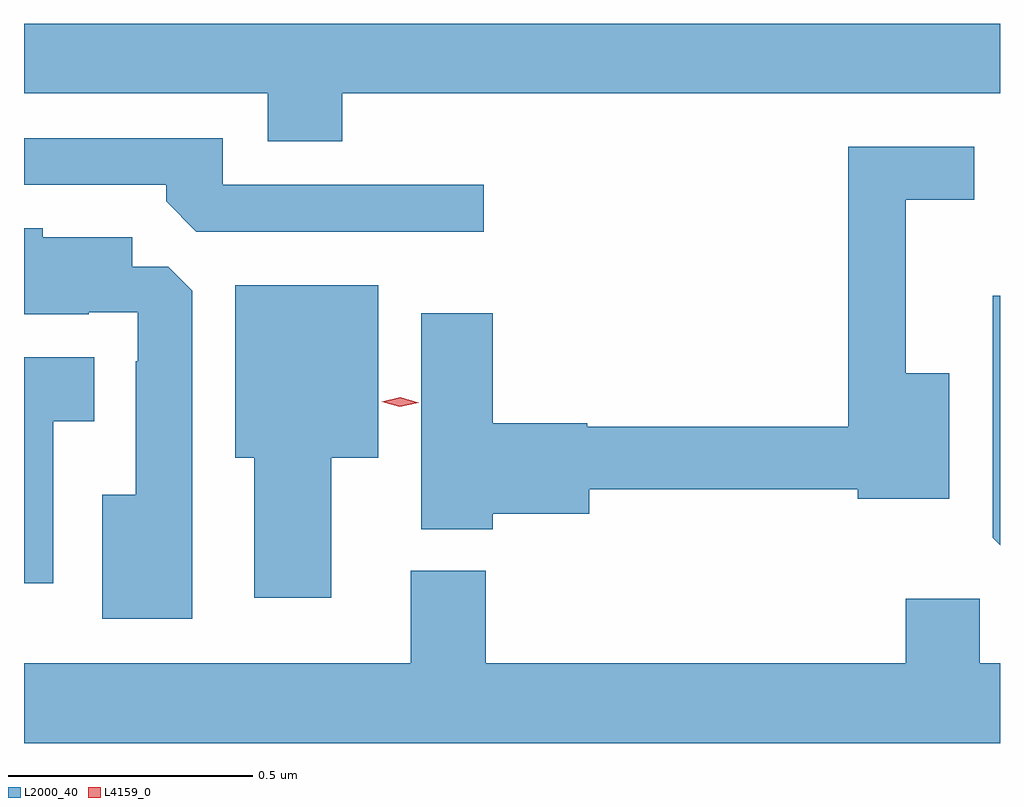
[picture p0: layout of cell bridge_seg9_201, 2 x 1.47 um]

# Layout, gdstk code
import gdstk
lib = gdstk.Library(unit=1e-6, precision=1e-09)
def P(c, l, *ps):  # polygons
    for p in ps: c.add(gdstk.Polygon(p, *l))
L2000_40 = (2000, 40)
L4159_0 = (4159, 0)

bridge_seg9_201 = lib.new_cell('bridge_seg9_201')
P(bridge_seg9_201, L2000_40, [(170.96,1200.416),(172.308,1200.416),(172.308,1200.558),(170.308,1200.558),(170.308,1200.416),(170.807,1200.416),(170.807,1200.317),(170.96,1200.317)],
  [(171.25,1200.228),(170.715,1200.228),(170.715,1200.324),(170.308,1200.324),(170.308,1200.228),(170.6,1200.228),(170.6,1200.194),(170.661,1200.132),(171.25,1200.132)],
  [(171.269,1199.554),(171.466,1199.554),(171.466,1199.604),(172.016,1199.604),(172.016,1199.585),(172.204,1199.585),(172.204,1199.842),(172.115,1199.842),(172.115,1200.198),(172.255,1200.198),(172.255,1200.306),(171.997,1200.306),(171.997,1199.732),(171.462,1199.732),(171.462,1199.74),(171.269,1199.74),(171.269,1199.965),(171.122,1199.965),(171.122,1199.522),(171.269,1199.522)],
  [(170.653,1200.011),(170.604,1200.06),(170.53,1200.06),(170.53,1200.121),(170.346,1200.121),(170.346,1200.139),(170.308,1200.139),(170.308,1199.963),(170.441,1199.963),(170.441,1199.967),(170.541,1199.967),(170.541,1199.867),(170.537,1199.867),(170.537,1199.593),(170.468,1199.593),(170.468,1199.339),(170.653,1199.339)],
  [(170.938,1199.669),(171.034,1199.669),(171.034,1200.022),(170.741,1200.022),(170.741,1199.669),(170.78,1199.669),(170.78,1199.382),(170.938,1199.382)],
  [(172.308,1200.001),(172.293,1200.001),(172.293,1199.505),(172.308,1199.49)],
  [(170.368,1199.744),(170.452,1199.744),(170.452,1199.875),(170.308,1199.875),(170.308,1199.412),(170.368,1199.412)],
  [(172.308,1199.248),(172.266,1199.248),(172.266,1199.38),(172.115,1199.38),(172.115,1199.248),(171.254,1199.248),(171.254,1199.437),(171.101,1199.437),(171.101,1199.248),(170.308,1199.248),(170.308,1199.084),(172.308,1199.084)])
P(bridge_seg9_201, L4159_0, [(171.078,1199.773),(171.041,1199.784),(171.04,1199.784),(171.041,1199.784),(171.079,1199.793),(171.117,1199.782),(171.117,1199.782),(171.117,1199.782)])

lib.write_gds('bridge_seg9_201.gds')
